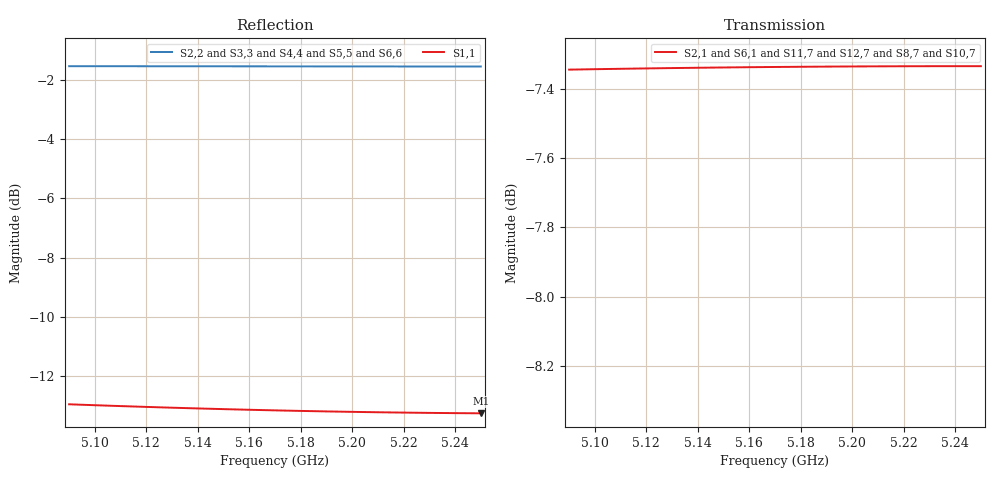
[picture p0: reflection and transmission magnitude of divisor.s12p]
! Touchstone file exported from HFSS 2024.2.0
!  File:  D:/dev/EMBRAER/P1H/R06_sem_cabos/divisor_superior/Divisor_superior.aedt
!  Generated:  06:36:26 PM Nov  7, 2026
!  Design:  Divisor_completo
!  Project:  Divisor_superior
!  Setup:  Centro
!  Solution:  Banda
# GHz S RI R 50.000000
! Terminal data exported
! Port[1] = A_IN
! Port[2] = A1
! Port[3] = A2
! Port[4] = A3
! Port[5] = A4
! Port[6] = A5
! Port[7] = B_IN
! Port[8] = B1
! Port[9] = B2
! Port[10] = B3
! Port[11] = B4
! Port[12] = B5
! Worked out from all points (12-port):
!   17 points, 5.09 GHz to 5.25 GHz, reference 50 ohm
!   strongest paths, dB at 5.09 GHz, 5.13 GHz, 5.17 GHz, 5.21 GHz, 5.25 GHz:
!     S2,1: -7.3, -7.3, -7.3, -7.3, -7.3
!     S6,1: -7.3, -7.3, -7.3, -7.3, -7.3
!     S11,7: -7.4, -7.3, -7.3, -7.3, -7.3
!     S12,7: -7.4, -7.4, -7.3, -7.3, -7.3
!     S8,7: -7.4, -7.4, -7.3, -7.3, -7.3
!     S10,7: -7.4, -7.4, -7.4, -7.4, -7.4
!   lowest |S11| = -13.2 dB at 5.25 GHz (marker M1), VSWR 1.56, Z = 70.4 - j16.9 ohm
!   |S11| at or under -10 dB: start of sweep to end of sweep
